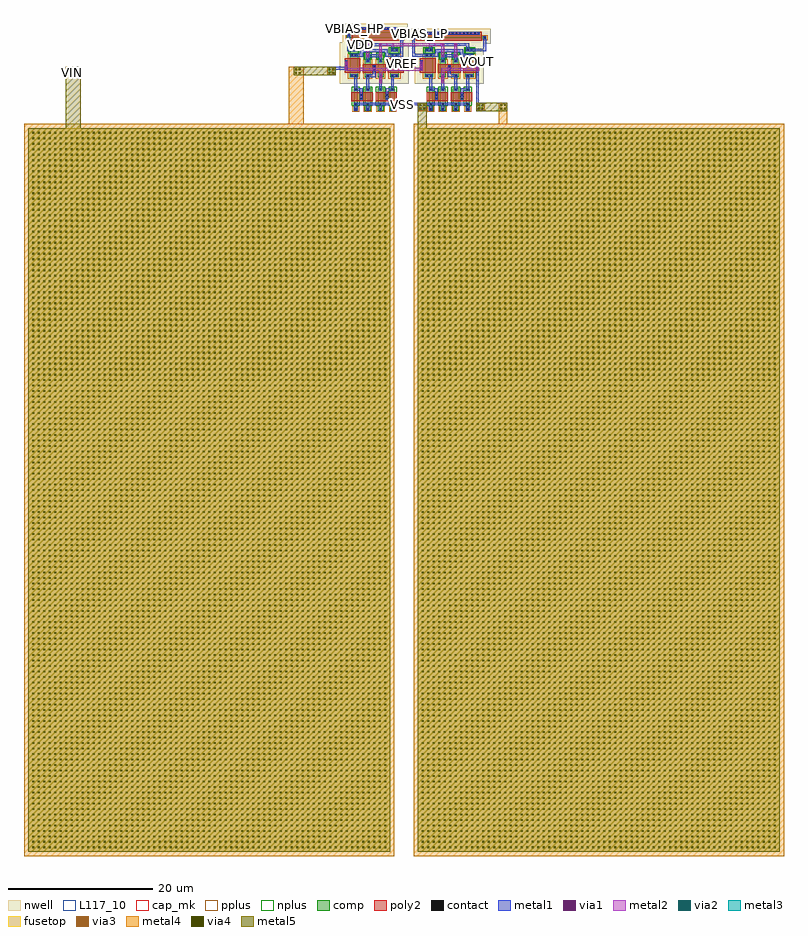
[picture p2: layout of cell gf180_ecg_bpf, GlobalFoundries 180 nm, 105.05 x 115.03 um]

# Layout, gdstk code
from math import pi, radians
import gdstk
lib = gdstk.Library(unit=1e-6, precision=1e-09)
def R(c, l, rs):  # rectangles x0, y0, x1, y1
    for r in rs: c.add(gdstk.rectangle(r[:2], r[2:], *l))
def A(c, l, x, y, w, h, nx, ny, dx, dy):  # array of equal rectangles
    R(c, l, [(x+i*dx, y+j*dy, x+i*dx+w, y+j*dy+h) for i in range(nx) for j in range(ny)])
def P(c, l, *ps):  # polygons
    for p in ps: c.add(gdstk.Polygon(p, *l))
nwell = (21, 0)
comp = (22, 0)
poly2 = (30, 0)
pplus = (31, 0)
nplus = (32, 0)
contact = (33, 0)
metal1 = (34, 0)
via1 = (35, 0)
metal2 = (36, 0)
via2 = (38, 0)
via3 = (40, 0)
via4 = (41, 0)
metal3 = (42, 0)
metal4 = (46, 0)
fusetop = (75, 0)
metal5 = (81, 0)
cap_mk = (117, 5)
L117_10 = (117, 10)

pfet_2_2 = lib.new_cell('pfet$2$2')
R(pfet_2_2, nwell, [(-1.32,-0.99,3.63,2.17)])
R(pfet_2_2, comp, [(-0.46,0,2.77,0.8)])
R(pfet_2_2, poly2, [(0.19,-0.3,1.39,1.48)])
R(pfet_2_2, pplus, [(-0.63,-0.24,2.04,1.04)])
R(pfet_2_2, nplus, [(2.04,-0.17,2.94,0.97)])
R(pfet_2_2, contact, [(-0.34,0.29,-0.12,0.51), (1.7,0.29,1.92,0.51), (2.43,0.29,2.65,0.51), (0.425,1.18,0.645,1.4), (0.935,1.18,1.155,1.4)])
R(pfet_2_2, metal1, [(-0.42,0.21,-0.04,0.59), (1.62,0.21,2,0.59), (2.35,0.21,2.73,0.59), (0.345,1.1,1.235,1.48)])

nfet_2_2 = lib.new_cell('nfet$2$2')
R(nfet_2_2, comp, [(-0.42,0,2.71,0.8)])
R(nfet_2_2, poly2, [(0.19,-0.66,1.39,1.1)])
R(nfet_2_2, pplus, [(2,-0.17,2.88,0.97)])
R(nfet_2_2, nplus, [(-0.59,-0.24,2,1.04)])
R(nfet_2_2, contact, [(0.425,-0.59,0.645,-0.37), (0.935,-0.59,1.155,-0.37), (-0.32,0.29,-0.1,0.51), (1.68,0.29,1.9,0.51), (2.39,0.29,2.61,0.51)])
R(nfet_2_2, metal1, [(0.345,-0.67,1.235,-0.29), (-0.4,0.21,-0.02,0.59), (1.6,0.21,1.98,0.59), (2.31,0.21,2.69,0.59)])

nfet_4 = lib.new_cell('nfet$4')
R(nfet_4, comp, [(-0.42,0,2.71,0.6)])
R(nfet_4, poly2, [(0.19,-0.3,1.39,1.26)])
R(nfet_4, pplus, [(2,-0.17,2.88,0.77)])
R(nfet_4, nplus, [(-0.59,-0.24,2,0.84)])
R(nfet_4, contact, [(-0.32,0.19,-0.1,0.41), (1.68,0.19,1.9,0.41), (2.39,0.19,2.61,0.41), (0.425,0.97,0.645,1.19), (0.935,0.97,1.155,1.19)])
R(nfet_4, metal1, [(-0.4,0.11,-0.02,0.49), (1.6,0.11,1.98,0.49), (2.31,0.11,2.69,0.49), (0.345,0.89,1.235,1.27)])

pfet_9 = lib.new_cell('pfet$9')
R(pfet_9, nwell, [(-1.32,-0.99,4.43,2.57)])
R(pfet_9, comp, [(-0.46,0,3.57,1.2)])
R(pfet_9, poly2, [(0.19,-0.3,2.19,1.88)])
R(pfet_9, pplus, [(-0.63,-0.24,2.84,1.44)])
R(pfet_9, nplus, [(2.84,-0.17,3.74,1.37)])
A(pfet_9, contact, 0.57, 1.58, 0.22, 0.22, 3, 1, 0.51, 0)
R(pfet_9, contact, [(-0.34,0.235,-0.12,0.455), (2.5,0.235,2.72,0.455), (3.23,0.235,3.45,0.455), (-0.34,0.745,-0.12,0.965), (2.5,0.745,2.72,0.965), (3.23,0.745,3.45,0.965)])
R(pfet_9, metal1, [(-0.42,0.155,-0.04,1.045), (2.42,0.155,2.8,1.045), (3.15,0.155,3.53,1.045), (0.49,1.5,1.89,1.88)])

pfet_4_1 = lib.new_cell('pfet$4$1')
R(pfet_4_1, nwell, [(-1.07,-0.74,7.95,2.02)])
R(pfet_4_1, comp, [(-0.46,0,7.34,0.9)])
R(pfet_4_1, poly2, [(0.19,-0.3,6.69,1.58)])
R(pfet_4_1, pplus, [(-0.63,-0.24,7.51,1.14)])
A(pfet_4_1, contact, 0.525, 1.28, 0.22, 0.22, 12, 1, 0.51, 0)
R(pfet_4_1, contact, [(-0.34,0.34,-0.12,0.56), (7,0.34,7.22,0.56)])
R(pfet_4_1, metal1, [(-0.42,0.26,-0.04,0.64), (6.92,0.26,7.3,0.64), (0.445,1.2,6.435,1.58)])

via_dev_37 = lib.new_cell('via_dev$37')
R(via_dev_37, metal1, [(0,0,0.4,0.4)])
R(via_dev_37, via1, [(0.07,0.07,0.33,0.33)])
R(via_dev_37, metal2, [(0,0,0.4,0.4)])

gf180_9t_bpf_1 = lib.new_cell('gf180_9T_bpf_1')
R(gf180_9t_bpf_1, nwell, [(5.325,4.79,7.755,5.345)])
R(gf180_9t_bpf_1, metal1, [(3.8,-3.49,4.18,-3.16), (5.46,-3.49,5.84,-3.16), (7.24,-3.49,7.62,-3.16), (8.9,-3.49,9.28,-3.16), (5.46,3.16,5.84,3.51), (7.24,3.16,7.62,3.51)])
gf180_9t_bpf_1.add(gdstk.FlexPath([(10.35,6.535),(10.35,3.77),(8.26,3.77),(8.26,4.4),(4.825,4.4),(4.825,3.77),(3.99,3.77)], 0.38, ends="flush", simple_path=True, layer=34, datatype=0))  # metal1
gf180_9t_bpf_1.add(gdstk.FlexPath([(3.48,4.5),(2.82,4.5)], 0.38, ends="flush", simple_path=True, layer=34, datatype=0))  # metal1
gf180_9t_bpf_1.add(gdstk.FlexPath([(3.01,4.5),(3.01,6.725)], 0.38, ends="flush", simple_path=True, layer=34, datatype=0))  # metal1
gf180_9t_bpf_1.add(gdstk.FlexPath([(9.09,4.5),(9.09,5.265),(4.04,5.265)], 0.38, ends="flush", simple_path=True, layer=34, datatype=0))  # metal1
gf180_9t_bpf_1.add(gdstk.FlexPath([(3.99,4.5),(3.99,5.455)], 0.38, ends="flush", simple_path=True, layer=34, datatype=0))  # metal1
gf180_9t_bpf_1.add(gdstk.FlexPath([(3.99,-0.97),(3.99,0.93)], 0.38, ends="flush", simple_path=True, layer=34, datatype=0))  # metal1
gf180_9t_bpf_1.add(gdstk.FlexPath([(4.77,-1.715),(4.77,-0.97),(3.99,-0.97)], 0.38, ends="flush", simple_path=True, layer=34, datatype=0))  # metal1
gf180_9t_bpf_1.add(gdstk.FlexPath([(5.65,-0.97),(5.65,0.931)], 0.38, ends="flush", simple_path=True, layer=34, datatype=0))  # metal1
gf180_9t_bpf_1.add(gdstk.FlexPath([(6.54,1.695),(6.54,0.93),(5.65,0.93)], 0.38, ends="flush", simple_path=True, layer=34, datatype=0))  # metal1
gf180_9t_bpf_1.add(gdstk.FlexPath([(9.09,-0.97),(9.09,0.93)], 0.38, ends="flush", simple_path=True, layer=34, datatype=0))  # metal1
gf180_9t_bpf_1.add(gdstk.FlexPath([(8.31,-1.715),(8.31,-0.97),(9.09,-0.97)], 0.38, ends="flush", simple_path=True, layer=34, datatype=0))  # metal1
gf180_9t_bpf_1.add(gdstk.FlexPath([(7.43,-0.97),(7.43,0.931)], 0.38, ends="flush", simple_path=True, layer=34, datatype=0))  # metal1
gf180_9t_bpf_1.add(gdstk.FlexPath([(7.421,3.69),(5.632,3.69)], 0.4, ends="flush", simple_path=True, layer=34, datatype=0))  # metal1
gf180_9t_bpf_1.add(gdstk.FlexPath([(5.664,5.245),(7.421,5.245)], 0.4, ends="flush", simple_path=True, layer=34, datatype=0))  # metal1
gf180_9t_bpf_1.add(gdstk.FlexPath([(3.99,-2.97),(9.09,-2.97)], 0.38, ends="flush", simple_path=True, layer=34, datatype=0))  # metal1
gf180_9t_bpf_1.add(gdstk.FlexPath([(5.66,5.249),(5.66,3.65)], 0.4, ends="flush", simple_path=True, layer=36, datatype=0))  # metal2
gf180_9t_bpf_1.add(gdstk.FlexPath([(7.42,5.249),(7.42,3.69)], 0.4, ends="flush", simple_path=True, layer=36, datatype=0))  # metal2
gf180_9t_bpf_1.add(gdstk.Reference(pfet_2_2, (5.25,1.16), rotation=pi/2, x_reflection=True))
gf180_9t_bpf_1.add(gdstk.Reference(nfet_2_2, (5.25,-1.18), rotation=3*pi/2))
gf180_9t_bpf_1.add(gdstk.Reference(nfet_4, (3.69,-1.18), rotation=3*pi/2))
gf180_9t_bpf_1.add(gdstk.Reference(pfet_2_2, (7.83,1.16), rotation=pi/2))
gf180_9t_bpf_1.add(gdstk.Reference(nfet_2_2, (7.83,-1.18), rotation=3*pi/2, x_reflection=True))
gf180_9t_bpf_1.add(gdstk.Reference(pfet_9, (8.745,1.16), rotation=pi/2, x_reflection=True))
gf180_9t_bpf_1.add(gdstk.Reference(nfet_4, (9.39,-1.18), rotation=3*pi/2, x_reflection=True))
gf180_9t_bpf_1.add(gdstk.Reference(pfet_4_1, (10.12,6.085), rotation=pi, x_reflection=True))
gf180_9t_bpf_1.add(gdstk.Reference(via_dev_37, (5.46,3.49)))
gf180_9t_bpf_1.add(gdstk.Reference(via_dev_37, (7.22,3.49)))
gf180_9t_bpf_1.add(gdstk.Reference(via_dev_37, (5.46,5.045)))
gf180_9t_bpf_1.add(gdstk.Reference(via_dev_37, (7.22,5.045)))
gf180_9t_bpf_1.add(gdstk.Reference(pfet_9, (4.335,1.16), rotation=pi/2))
gf180_9t_bpf_1.add(gdstk.Label('VBIAS', (6.115,7.44), layer=34, texttype=10))
gf180_9t_bpf_1.add(gdstk.Label('VINP', (2.568,2.06), layer=34, texttype=10))
gf180_9t_bpf_1.add(gdstk.Label('VINN', (10.342,2.09), layer=34, texttype=10))
gf180_9t_bpf_1.add(gdstk.Label('VOUT', (7.359,-0.412), layer=34, texttype=10))
gf180_9t_bpf_1.add(gdstk.Label('VDD', (3,6.45), layer=34, texttype=10))
gf180_9t_bpf_1.add(gdstk.Label('VSS', (5.615,-3.39), layer=34, texttype=10))

pfet_2_1_1 = lib.new_cell('pfet$2$1$1')
R(pfet_2_1_1, nwell, [(-1.32,-0.99,3.63,2.17)])
R(pfet_2_1_1, comp, [(-0.46,0,2.77,0.8)])
R(pfet_2_1_1, poly2, [(0.19,-0.3,1.39,1.48)])
R(pfet_2_1_1, pplus, [(-0.63,-0.24,2.04,1.04)])
R(pfet_2_1_1, nplus, [(2.04,-0.17,2.94,0.97)])
R(pfet_2_1_1, contact, [(-0.34,0.29,-0.12,0.51), (1.7,0.29,1.92,0.51), (2.43,0.29,2.65,0.51), (0.425,1.18,0.645,1.4), (0.935,1.18,1.155,1.4)])
R(pfet_2_1_1, metal1, [(-0.42,0.21,-0.04,0.59), (1.62,0.21,2,0.59), (2.35,0.21,2.73,0.59), (0.345,1.1,1.235,1.48)])

nfet_2_1 = lib.new_cell('nfet$2$1')
R(nfet_2_1, comp, [(-0.42,0,2.71,0.8)])
R(nfet_2_1, poly2, [(0.19,-0.66,1.39,1.1)])
R(nfet_2_1, pplus, [(2,-0.17,2.88,0.97)])
R(nfet_2_1, nplus, [(-0.59,-0.24,2,1.04)])
R(nfet_2_1, contact, [(0.425,-0.59,0.645,-0.37), (0.935,-0.59,1.155,-0.37), (-0.32,0.29,-0.1,0.51), (1.68,0.29,1.9,0.51), (2.39,0.29,2.61,0.51)])
R(nfet_2_1, metal1, [(0.345,-0.67,1.235,-0.29), (-0.4,0.21,-0.02,0.59), (1.6,0.21,1.98,0.59), (2.31,0.21,2.69,0.59)])

nfet_3_1 = lib.new_cell('nfet$3$1')
R(nfet_3_1, comp, [(-0.42,0,2.71,0.6)])
R(nfet_3_1, poly2, [(0.19,-0.3,1.39,1.26)])
R(nfet_3_1, pplus, [(2,-0.17,2.88,0.77)])
R(nfet_3_1, nplus, [(-0.59,-0.24,2,0.84)])
R(nfet_3_1, contact, [(-0.32,0.19,-0.1,0.41), (1.68,0.19,1.9,0.41), (2.39,0.19,2.61,0.41), (0.425,0.97,0.645,1.19), (0.935,0.97,1.155,1.19)])
R(nfet_3_1, metal1, [(-0.4,0.11,-0.02,0.49), (1.6,0.11,1.98,0.49), (2.31,0.11,2.69,0.49), (0.345,0.89,1.235,1.27)])

pfet_5 = lib.new_cell('pfet$5')
R(pfet_5, nwell, [(-1.32,-0.99,4.43,2.57)])
R(pfet_5, comp, [(-0.46,0,3.57,1.2)])
R(pfet_5, poly2, [(0.19,-0.3,2.19,1.88)])
R(pfet_5, pplus, [(-0.63,-0.24,2.84,1.44)])
R(pfet_5, nplus, [(2.84,-0.17,3.74,1.37)])
A(pfet_5, contact, 0.57, 1.58, 0.22, 0.22, 3, 1, 0.51, 0)
R(pfet_5, contact, [(-0.34,0.235,-0.12,0.455), (2.5,0.235,2.72,0.455), (3.23,0.235,3.45,0.455), (-0.34,0.745,-0.12,0.965), (2.5,0.745,2.72,0.965), (3.23,0.745,3.45,0.965)])
R(pfet_5, metal1, [(-0.42,0.155,-0.04,1.045), (2.42,0.155,2.8,1.045), (3.15,0.155,3.53,1.045), (0.49,1.5,1.89,1.88)])

pfet_3_1 = lib.new_cell('pfet$3$1')
R(pfet_3_1, nwell, [(-1.07,-0.74,10.45,1.34)])
P(pfet_3_1, comp, [(-0.46,-0.08),(-0.46,0.3),(0,0.3),(0,0.22),(9.38,0.22),(9.38,0.3),(9.84,0.3),(9.84,-0.08),(9.38,-0.08),(9.38,0),(0,0),(0,-0.08)])
R(pfet_3_1, poly2, [(0.19,-0.3,9.19,0.9)])
R(pfet_3_1, pplus, [(-0.63,-0.24,10.01,0.46)])
A(pfet_3_1, contact, 0.5, 0.6, 0.22, 0.22, 17, 1, 0.51, 0)
R(pfet_3_1, contact, [(-0.34,0,-0.12,0.22), (9.5,0,9.72,0.22)])
R(pfet_3_1, metal1, [(-0.42,-0.08,-0.04,0.3), (9.42,-0.08,9.8,0.3), (0.42,0.52,8.96,0.9)])

via_dev_1_1 = lib.new_cell('via_dev$1$1')
R(via_dev_1_1, metal1, [(0,0,0.4,0.4)])
R(via_dev_1_1, via1, [(0.07,0.07,0.33,0.33)])
R(via_dev_1_1, metal2, [(0,0,0.4,0.4)])

gf180_9t_bpf_2 = lib.new_cell('gf180_9T_bpf_2')
R(gf180_9t_bpf_2, nwell, [(5.325,4.79,7.755,5.345)])
R(gf180_9t_bpf_2, metal1, [(3.8,-3.49,4.18,-3.16), (5.46,-3.49,5.84,-3.16), (7.24,-3.49,7.62,-3.16), (8.9,-3.49,9.28,-3.16), (5.46,3.16,5.84,3.51), (7.24,3.16,7.62,3.51)])
gf180_9t_bpf_2.add(gdstk.FlexPath([(11.495,6.195),(11.495,3.77),(8.26,3.77),(8.26,4.4),(4.825,4.4),(4.825,3.77),(3.99,3.77)], 0.38, ends="flush", simple_path=True, layer=34, datatype=0))  # metal1
gf180_9t_bpf_2.add(gdstk.FlexPath([(3.48,4.5),(1.655,4.5),(1.655,6.195),(1.73,6.195)], 0.38, ends="flush", simple_path=True, layer=34, datatype=0))  # metal1
gf180_9t_bpf_2.add(gdstk.FlexPath([(3.99,4.5),(3.99,5.265)], 0.38, ends="flush", simple_path=True, layer=34, datatype=0))  # metal1
gf180_9t_bpf_2.add(gdstk.FlexPath([(9.09,4.5),(9.09,5.265),(3.8,5.265)], 0.38, ends="flush", simple_path=True, layer=34, datatype=0))  # metal1
gf180_9t_bpf_2.add(gdstk.FlexPath([(3.99,-0.97),(3.99,0.93)], 0.38, ends="flush", simple_path=True, layer=34, datatype=0))  # metal1
gf180_9t_bpf_2.add(gdstk.FlexPath([(4.77,-1.715),(4.77,-0.97),(3.99,-0.97)], 0.38, ends="flush", simple_path=True, layer=34, datatype=0))  # metal1
gf180_9t_bpf_2.add(gdstk.FlexPath([(5.65,-0.97),(5.65,0.931)], 0.38, ends="flush", simple_path=True, layer=34, datatype=0))  # metal1
gf180_9t_bpf_2.add(gdstk.FlexPath([(6.54,1.695),(6.54,0.93),(5.65,0.93)], 0.38, ends="flush", simple_path=True, layer=34, datatype=0))  # metal1
gf180_9t_bpf_2.add(gdstk.FlexPath([(9.09,-0.97),(9.09,0.93)], 0.38, ends="flush", simple_path=True, layer=34, datatype=0))  # metal1
gf180_9t_bpf_2.add(gdstk.FlexPath([(8.31,-1.715),(8.31,-0.97),(9.09,-0.97)], 0.38, ends="flush", simple_path=True, layer=34, datatype=0))  # metal1
gf180_9t_bpf_2.add(gdstk.FlexPath([(7.43,-0.97),(7.43,0.931)], 0.38, ends="flush", simple_path=True, layer=34, datatype=0))  # metal1
gf180_9t_bpf_2.add(gdstk.FlexPath([(7.421,3.69),(5.632,3.69)], 0.4, ends="flush", simple_path=True, layer=34, datatype=0))  # metal1
gf180_9t_bpf_2.add(gdstk.FlexPath([(5.664,5.245),(7.421,5.245)], 0.4, ends="flush", simple_path=True, layer=34, datatype=0))  # metal1
gf180_9t_bpf_2.add(gdstk.FlexPath([(3.99,-2.97),(9.09,-2.97)], 0.38, ends="flush", simple_path=True, layer=34, datatype=0))  # metal1
gf180_9t_bpf_2.add(gdstk.FlexPath([(5.66,5.249),(5.66,3.65)], 0.4, ends="flush", simple_path=True, layer=36, datatype=0))  # metal2
gf180_9t_bpf_2.add(gdstk.FlexPath([(7.42,5.249),(7.42,3.69)], 0.4, ends="flush", simple_path=True, layer=36, datatype=0))  # metal2
gf180_9t_bpf_2.add(gdstk.Reference(pfet_2_1_1, (5.25,1.16), rotation=pi/2, x_reflection=True))
gf180_9t_bpf_2.add(gdstk.Reference(nfet_2_1, (5.25,-1.18), rotation=3*pi/2))
gf180_9t_bpf_2.add(gdstk.Reference(nfet_3_1, (3.69,-1.18), rotation=3*pi/2))
gf180_9t_bpf_2.add(gdstk.Reference(pfet_2_1_1, (7.83,1.16), rotation=pi/2))
gf180_9t_bpf_2.add(gdstk.Reference(nfet_2_1, (7.83,-1.18), rotation=3*pi/2, x_reflection=True))
gf180_9t_bpf_2.add(gdstk.Reference(pfet_5, (8.745,1.16), rotation=pi/2, x_reflection=True))
gf180_9t_bpf_2.add(gdstk.Reference(nfet_3_1, (9.39,-1.18), rotation=3*pi/2, x_reflection=True))
gf180_9t_bpf_2.add(gdstk.Reference(pfet_3_1, (11.265,6.085), rotation=pi, x_reflection=True))
gf180_9t_bpf_2.add(gdstk.Reference(via_dev_1_1, (5.46,3.49)))
gf180_9t_bpf_2.add(gdstk.Reference(via_dev_1_1, (7.22,3.49)))
gf180_9t_bpf_2.add(gdstk.Reference(via_dev_1_1, (5.46,5.045)))
gf180_9t_bpf_2.add(gdstk.Reference(via_dev_1_1, (7.22,5.045)))
gf180_9t_bpf_2.add(gdstk.Reference(pfet_5, (4.335,1.16), rotation=pi/2))
gf180_9t_bpf_2.add(gdstk.Label('VDD', (1.557,6.237), layer=34, texttype=10))
gf180_9t_bpf_2.add(gdstk.Label('VBIAS', (5.765,6.8), layer=34, texttype=10))
gf180_9t_bpf_2.add(gdstk.Label('VINP', (2.568,2.06), layer=34, texttype=10))
gf180_9t_bpf_2.add(gdstk.Label('VINN', (10.342,2.09), layer=34, texttype=10))
gf180_9t_bpf_2.add(gdstk.Label('VOUT', (7.359,-0.412), layer=34, texttype=10))
gf180_9t_bpf_2.add(gdstk.Label('VSS', (5.615,-3.39), layer=34, texttype=10))

via_dev_3 = lib.new_cell('via_dev$3')
R(via_dev_3, metal1, [(0,0,0.4,1.2)])
R(via_dev_3, via1, [(0.07,0.205,0.33,0.465), (0.07,0.735,0.33,0.995)])
R(via_dev_3, metal2, [(0,0,0.4,1.2)])

cap_mim_2 = lib.new_cell('cap_mim$2')
A(cap_mim_2, via4, 0.55, 0.47, 0.26, 0.26, 65, 131, 0.76, 0.76)
R(cap_mim_2, metal4, [(-0.6,-0.6,50.6,100.6)])
R(cap_mim_2, fusetop, [(0,0,50,100)])
R(cap_mim_2, metal5, [(0,0,50,100)])
R(cap_mim_2, cap_mk, [(-0.6,-0.6,50.6,100.6)])
R(cap_mim_2, L117_10, [(0,0,50,0.1)])

via_dev_2_3 = lib.new_cell('via_dev$2$3')
R(via_dev_2_3, metal1, [(0,0,1.2,1.2)])
R(via_dev_2_3, via1, [(0.205,0.205,0.465,0.465), (0.735,0.205,0.995,0.465), (0.205,0.735,0.465,0.995), (0.735,0.735,0.995,0.995)])
R(via_dev_2_3, metal2, [(0,0,1.2,1.2)])
R(via_dev_2_3, via2, [(0.205,0.205,0.465,0.465), (0.735,0.205,0.995,0.465), (0.205,0.735,0.465,0.995), (0.735,0.735,0.995,0.995)])
R(via_dev_2_3, via3, [(0.205,0.205,0.465,0.465), (0.735,0.205,0.995,0.465), (0.205,0.735,0.465,0.995), (0.735,0.735,0.995,0.995)])
R(via_dev_2_3, via4, [(0.205,0.205,0.465,0.465), (0.735,0.205,0.995,0.465), (0.205,0.735,0.465,0.995), (0.735,0.735,0.995,0.995)])
R(via_dev_2_3, metal3, [(0,0,1.2,1.2)])
R(via_dev_2_3, metal4, [(0,0,1.2,1.2)])
R(via_dev_2_3, metal5, [(0,0,1.2,1.2)])

via_dev_7_1 = lib.new_cell('via_dev$7$1')
R(via_dev_7_1, via4, [(0.205,0.205,0.465,0.465), (0.735,0.205,0.995,0.465), (0.205,0.735,0.465,0.995), (0.735,0.735,0.995,0.995)])
R(via_dev_7_1, metal4, [(0,0,1.2,1.2)])
R(via_dev_7_1, metal5, [(0,0,1.2,1.2)])

gf180_ecg_bpf = lib.new_cell('gf180_ecg_bpf')
R(gf180_ecg_bpf, metal4, [(27.22,-6.325,28.42,-2.78), (-1.79,-5.725,0.285,2.175)])
R(gf180_ecg_bpf, metal5, [(-32.635,-8.315,-30.56,2.175), (16.045,-6.325,17.245,-2.78), (24.7,-3.98,27.82,-2.78), (-0.545,0.975,4.09,2.175)])
gf180_ecg_bpf.add(gdstk.FlexPath([(12.55,-2.97),(17.945,-2.97)], 0.38, ends="flush", simple_path=True, layer=34, datatype=0))  # metal1
gf180_ecg_bpf.add(gdstk.FlexPath([(24.29,1.985),(24.29,-3.245)], 0.38, ends="flush", simple_path=True, layer=34, datatype=0))  # metal1
gf180_ecg_bpf.add(gdstk.FlexPath([(6.115,1.985),(3.655,1.985)], 0.38, ends="flush", simple_path=True, layer=34, datatype=0))  # metal1
gf180_ecg_bpf.add(gdstk.FlexPath([(24.29,1.85),(19.505,1.85),(19.505,0.955)], 0.4, ends="flush", simple_path=True, layer=36, datatype=0))  # metal2
gf180_ecg_bpf.add(gdstk.FlexPath([(6.115,1.85),(10.9,1.85),(10.9,0.955)], 0.4, ends="flush", simple_path=True, layer=36, datatype=0))  # metal2
gf180_ecg_bpf.add(gdstk.FlexPath([(10.73,1.85),(16.49,1.85)], 0.4, ends="flush", simple_path=True, layer=36, datatype=0))  # metal2
gf180_ecg_bpf.add(gdstk.FlexPath([(10.88,5.245),(19.505,5.245)], 0.4, ends="flush", simple_path=True, layer=36, datatype=0))  # metal2
gf180_ecg_bpf.add(gdstk.Reference(gf180_9t_bpf_1, (3.46,0)))
gf180_ecg_bpf.add(gdstk.Reference(gf180_9t_bpf_2, (26.925,0), rotation=pi, x_reflection=True))
gf180_ecg_bpf.add(gdstk.Reference(via_dev_3, (19.705,-0.08), rotation=pi, x_reflection=True))
gf180_ecg_bpf.add(gdstk.Reference(via_dev_3, (24.49,1.65), rotation=pi, x_reflection=True))
gf180_ecg_bpf.add(gdstk.Reference(via_dev_3, (10.7,-0.08)))
gf180_ecg_bpf.add(gdstk.Reference(via_dev_3, (5.915,1.65)))
gf180_ecg_bpf.add(gdstk.Reference(via_dev_3, (16.68,1.65), rotation=pi, x_reflection=True))
gf180_ecg_bpf.add(gdstk.Reference(cap_mim_2, (-37.8,-106.325)))
gf180_ecg_bpf.add(gdstk.Reference(cap_mim_2, (16.045,-106.325)))
gf180_ecg_bpf.add(gdstk.Reference(via_dev_2_3, (16.045,-3.98)))
gf180_ecg_bpf.add(gdstk.Reference(via_dev_7_1, (27.22,-3.98)))
gf180_ecg_bpf.add(gdstk.Reference(via_dev_7_1, (-1.145,0.975)))
gf180_ecg_bpf.add(gdstk.Reference(via_dev_2_3, (3.49,0.975)))
gf180_ecg_bpf.add(gdstk.Reference(via_dev_2_3, (24.1,-3.98)))
gf180_ecg_bpf.add(gdstk.Label('VBIAS_HP', (7.335,7.475), layer=34, texttype=10))
gf180_ecg_bpf.add(gdstk.Label('VBIAS_LP', (16.27,6.795), layer=34, texttype=10))
gf180_ecg_bpf.add(gdstk.Label('VDD', (8.17,5.265), layer=34, texttype=10))
gf180_ecg_bpf.add(gdstk.Label('VSS', (13.93,-3.02), layer=34, texttype=10))
gf180_ecg_bpf.add(gdstk.Label('VREF', (13.87,2.58), layer=34, texttype=10))
gf180_ecg_bpf.add(gdstk.Label('VOUT', (24.25,2.97), layer=34, texttype=10))
gf180_ecg_bpf.add(gdstk.Label('VIN', (-31.735,1.44), layer=81, texttype=10))

lib.write_gds('gf180_ecg_bpf.gds')
